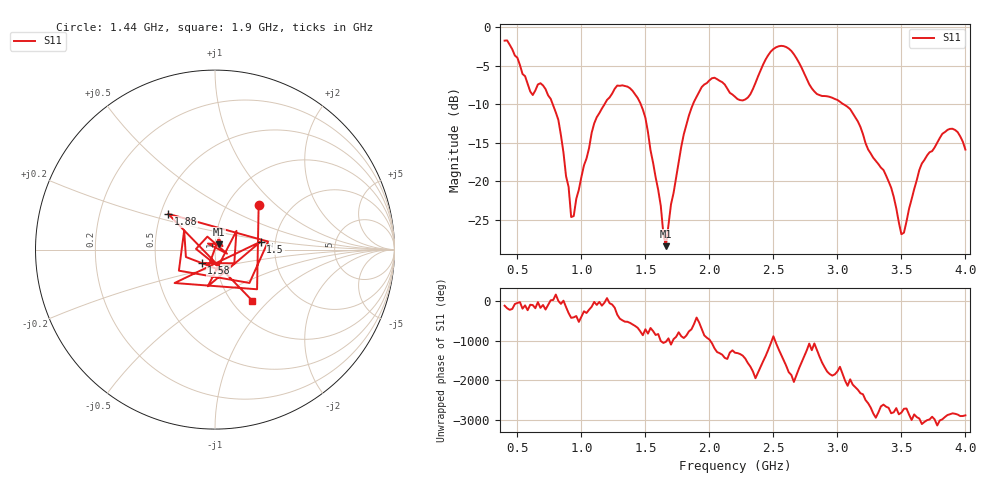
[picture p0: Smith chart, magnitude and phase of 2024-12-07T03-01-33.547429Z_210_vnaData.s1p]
!Created with skrf (http://scikit-rf.org).
# Hz S RI R 50.0
!freq ReS11 ImS11
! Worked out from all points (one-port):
!   181 points, 400 MHz to 4 GHz, reference 50 ohm
!   lowest |S11| = -28.5 dB at 1.66 GHz (marker M1), VSWR 1.08, Z = 52.3 + j3.11 ohm
!   |S11| at or under -10 dB: 776.1 MHz to 1.181 GHz (404.7 MHz wide, 41.4 % of centre); 1.464 GHz to 1.872 GHz (408 MHz wide, 24.5 % of centre); 3.048 GHz to end of sweep
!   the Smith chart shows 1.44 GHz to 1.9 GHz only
!   S11 on the Smith chart (normalised r, x): 1.44 GHz: 1.39, +0.78; 1.5 GHz: 1.67, +0.16; 1.58 GHz: 0.85, -0.13; 1.88 GHz: 0.55, +0.24; 1.9 GHz: 1.24, -0.81
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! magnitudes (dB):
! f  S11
! 400 MHz  -1.7
! 620 MHz  -8.8
! 760 MHz  -9.3
! 860 MHz  -16.3
! 920 MHz  -24.7
! 940 MHz  -24.5
! 1.1 GHz  -12.5
! 1.3 GHz  -7.6
! 1.44 GHz  -9.2
! 1.5 GHz  -11.8
! 1.58 GHz  -19.5
! 1.66 GHz  -28.5
! 1.76 GHz  -17.4
! 1.88 GHz  -9.7
! 1.9 GHz  -9.0
! 2.04 GHz  -6.5
! 2.2 GHz  -9.0
! 2.3 GHz  -9.1
! 2.5 GHz  -2.8
! 2.66 GHz  -3.5
! 2.82 GHz  -8.3
! 3.1 GHz  -10.6
! 3.42 GHz  -20.8
! 3.5 GHz  -26.9
! 3.56 GHz  -23.6
! 3.66 GHz  -17.7
! 3.82 GHz  -13.8
! 4 GHz  -15.9
